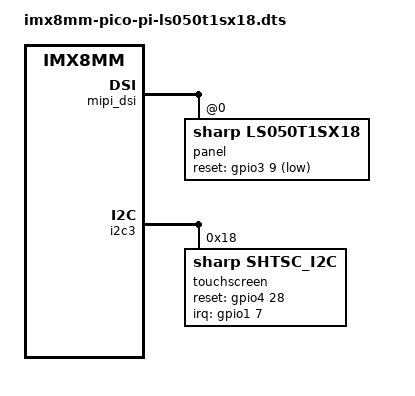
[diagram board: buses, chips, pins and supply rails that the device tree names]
/*
 * Copyright 2019 PCS
 *
 * Author: Linh Nguyen <nvl1109@gmail.com>
 *
 * This program is free software; you can redistribute it and/or
 * modify it under the terms of the GNU General Public License
 * as published by the Free Software Foundation; either version 2
 * of the License, or (at your option) any later version.
 *
 * This program is distributed in the hope that it will be useful,
 * but WITHOUT ANY WARRANTY; without even the implied warranty of
 * MERCHANTABILITY or FITNESS FOR A PARTICULAR PURPOSE.  See the
 * GNU General Public License for more details.
 */

#include "imx8mm-pico-pi.dts"

/ {
	backlight_mipi {
		status = "okay";
	};
};

&mipi_dsi {
	status = "okay";

	panel@0 {
		compatible = "sharp,ls050t1sx18";
		reg = <0>;
		pinctrl-0 = <&pinctrl_mipi_dsi_rst>;
		reset-gpio = <&gpio3 9 GPIO_ACTIVE_LOW>;
		/*tpreset-gpio = <&gpio4 28 GPIO_ACTIVE_LOW>;*/
		dsi-lanes = <4>;
		panel-width-mm = <62>;
		panel-height-mm = <110>;
		timing-mode = <0>;
		video-mode = <2>;
		vrefresh = <60>;

		display-timings {
			timing {
				clock-frequency = <148500000>;
				hactive = <1080>;
				vactive = <1920>;
				hfront-porch = <70>;
				hsync-len = <24>;
				hback-porch = <100>;
				vfront-porch = <4>;
				vsync-len = <4>;
				vback-porch = <2>;

				hsync-active = <0>;
				vsync-active = <0>;
				de-active = <0>;
				pixelclk-active = <0>;
			};
		};
	};
};

&i2c3 {
	touchscreen@18 {
		compatible = "sharp,shtsc_i2c";
		status = "ok";
		reg = <0x18>;
		pinctrl-names = "default";
		pinctrl-0 = <&pinctrl_touch_rst &pinctrl_touch_irq>;
		sharp,reset-gpio = <&gpio4 28 0>;
		sharp,irq-gpio = <&gpio1 7 0>;
		sharp,panel-coords = <0 0 1079 1919>; // depends on an LCD resolution (0 0 Xmax-1 Ymax-1)
		sharp,display-coords = <0 0 1079 1919>; // depends on an LCD resolution (0 0 Xmax-1 Ymax-1)
		sharp,i2c-pull-up;
		ts_touch_num_max = <10>;
		ts_pressure_max = <65535>;
		ts_flip_x = <0>;
		ts_flip_y = <0>;
		ts_swap_xy = <0>;
	};
};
